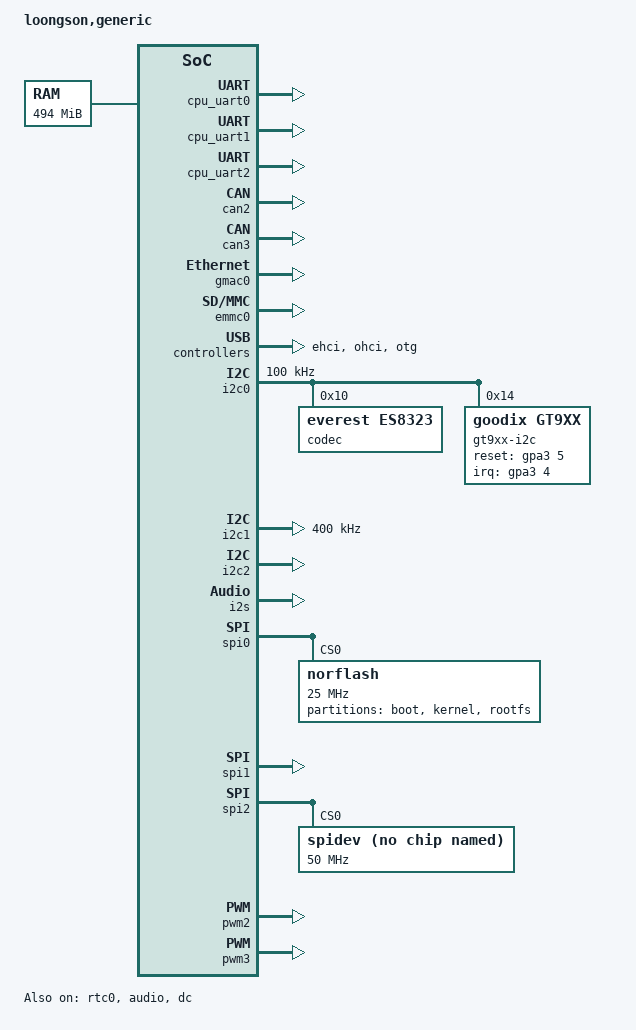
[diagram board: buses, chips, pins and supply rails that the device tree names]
/dts-v1/;
#include "loongson_2k0300.dtsi"

/ {
	model = "loongson,generic";
	compatible = "loongson,loongson3";
	#address-cells = <2>;
	#size-cells = <2>;

	chosen {
		stdout-path = "serial0:115200n8";
		bootargs = "earlycon";
	};

	memory {
		name = "memory";
		device_type = "memory";
		reg =  <0 0x00200000 0 0x0ee00000
#if 1
			0 0x90000000 0 0x10000000>;
#else
			0 0x90000000 0 0x30000000>;
#endif
	};

	soc {

		sound {
			status = "okay";
			compatible = "loongson,ls-sound";
			loongson,i2s-controller = <&i2s>;
			loongson,audio-codec = <&audio>;
			codec-names = "ES8323 PAIF RX","Playback", "ES8323 HiFi", "ES8323.0-0010",
			"ES8323 PAIF TX","Capture","ES8323 HiFi","ES8323.0-0010";
		};

		reserved-memory {
			#address-cells = <2>;
			#size-cells = <2>;
			ranges;

			display_reserved: framebuffer@30000000 {
				compatible = "shared-dma-pool";
				reg = <0x0 0xa0000000 0x0 0x08000000>; /* 128M */
				linux,cma-default;
			};
		};
	};
};

&cpu_uart0 {
	status = "okay";
	pinctrl-names = "default";
	pinctrl-0 = <&uart0_2bit_m0>;
};

&cpu_uart1 {
	status = "okay";
	pinctrl-names = "default";
	pinctrl-0 = <&uart1_2bit_m0>;
};

&cpu_uart2 {
	status = "okay";
	pinctrl-names = "default";
	pinctrl-0 = <&uart2_2bit_m0>;
};

&rtc0 {
	status = "okay";
};

&can2 {
	status = "okay";
	pinctrl-names = "default";
	pinctrl-0 = <&can2_mux_m0>;
};

&can3 {
	status = "okay";
	pinctrl-names = "default";
	pinctrl-0 = <&can3_mux_m0>;
};

&gmac0 {
	status = "okay";
	pinctrl-names = "default";
	pinctrl-0 = <&gmac0_12bit_f0>, <&gmac0_12bit_f1>;
};


&emmc0 {
	status = "okay";
	pinctrl-names = "default";
	pinctrl-0 = <&sdio0_pin_f0>, <&sdio0_pin_f1>;
};

&ehci {
	status = "okay";
};

&ohci {
	status = "okay";
};

&otg {
	status = "okay";
};

&i2c0 {
	status = "okay";
	clock-frequency = <100000>;
	pinctrl-names = "default";
	pinctrl-0 = <&i2c0_mux_m0>;

	codec:@10 {
		compatible = "everest,es8323";
		reg = <0x10>;
	};

	gt9xx-i2c@14{
		status = "okay";
		compatible = "goodix,gt9xx";
		reg = <0x14>;

		reset-gpios = <&gpa3 5 0>;
		irq-gpios = <&gpa3 4 IRQ_TYPE_EDGE_RISING>;
		irq-flags = <2>;
		goodix,type-a-report = <0>;
		goodix,driver-send-cfg = <0>;
		goodix,create-wr-node = <1>;
		goodix,wakeup-with-reset = <0>;
		goodix,resume-in-workqueue = <0>;
		goodix,int-sync = <1>;
		goodix,swap-x2y = <0>;
		goodix,esd-protect = <0>;
		goodix,auto-update = <1>;
		goodix,auto-update-cfg = <0>;
		goodix,power-off-sleep = <0>;
		goodix.pen-suppress-finger = <0>;
		goodix,cfg-group0 = [
			53 D0 02 00 05 05 F5 D5 21 48 2D 0F 5A 41 0E 05 00 00 32
			32 20 00 05 14 14 1A 14 8B 2B 00
		];
	};
};

&i2c1 {
	status = "okay";
	clock-frequency = <400000>;
	pinctrl-names = "default";
	pinctrl-0 = <&i2c1_mux_m0>;
};

&i2c2 {
	status = "okay";
	pinctrl-names = "default";
	pinctrl-0 = <&i2c2_mux_m0>;
};

&i2s {
	status = "okay";
	pinctrl-names = "default";
	pinctrl-0 = <&i2s_pin_f0>, <&i2s_pin_f1>;
};

&audio {
	status = "okay";
};

&spi0 {
	status = "okay";
	pinctrl-names = "default";
	pinctrl-0 = <&spi0_6bit_f0>,<&spi0_6bit_f1>;

	norflash@0 {
		reg = <0>;
		spi-rx-bus-width = <4>;
		spi-max-frequency = <25000000>;
		#address-cells = <1>;
		#size-cells = <1>;
		partitions {
			compatible = "fixed-partitions";
			#address-cells = <1>;
			#size-cells = <1>;

			boot@0 {
				label = "boot";
				reg = <0x0000000 0x100000>;
				/*read-only;*/
			};

			kernel@100000 {
				label = "kernel";
				reg = <0x100000 0x600000>;
			};

			rootfs@700000 {
				label = "rootfs";
				reg = <0x700000 0x1000000>;
			};
		};
	};
};

&spi1 {
	status = "okay";
};

&spi2 {
	status = "okay";
	pinctrl-0 = <&spi2_pin>;
	spidev@0{
		compatible = "rohm,dh2228fv";
		spi-max-frequency = <50000000>;
		reg = <0>;
	};
};

&pwm2 {
	status = "okay";
	pinctrl-names = "default";
	pinctrl-0 = <&pwm2_mux_m1>;
};

&pwm3{
	status = "okay";
	pinctrl-names = "default";
	pinctrl-0 = <&pwm3_mux_m1>;
};

&dc{
	status = "okay";
	pinctrl-names = "default";
	pinctrl-0 = <&lcd_pin_f0>,<&lcd_pin_f1>;
};
